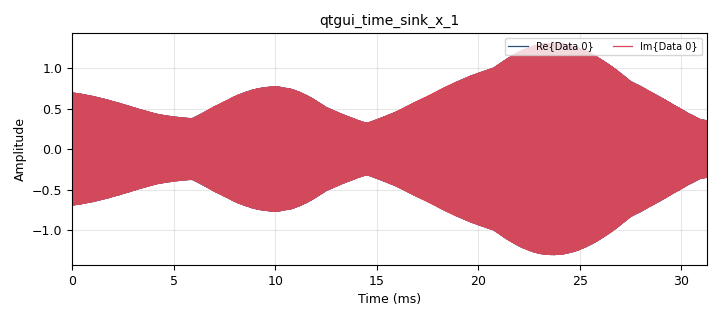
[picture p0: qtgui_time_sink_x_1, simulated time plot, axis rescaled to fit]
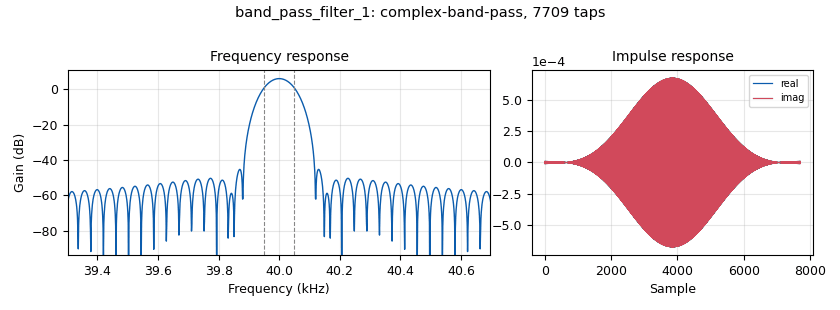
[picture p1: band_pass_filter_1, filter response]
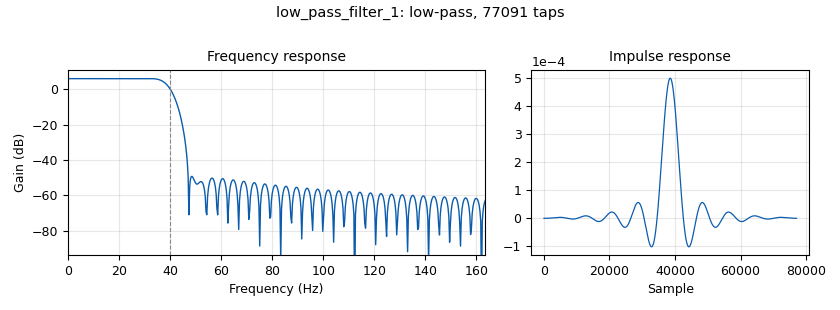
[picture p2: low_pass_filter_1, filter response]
options:
  parameters:
    author: parallels
    generate_options: qt_gui
    id: ook_tx
    max_nouts: '1000'
    output_language: python
    title: OOK  TX RX
  states: {}

blocks:
- name: center_freq
  id: variable
  parameters:
    value: 40e3
  states: {}
- name: delay
  id: variable_qtgui_range
  parameters:
    comment: |-
      when SRS is 1 the delay is 0 giving a total of 436
      *when SRS is 1 the delay is +432 giving total of 868*
      when SRS is 10 the delay is +3870 giving a total of 4306
      when SRS is 50 the delay is +21210 giving a total of 21646
      when SRS is 100 the delay is +42650 giving a total of 43086
    label: Delay
    start: '-500'
    step: '1'
    stop: '45000'
    value: '42650'
  states: {}
- name: noise_level
  id: variable_qtgui_range
  parameters:
    label: noise_level
    start: '0'
    step: '1'
    stop: '20'
    value: '20'
  states: {}
- name: samp_rate
  id: variable
  parameters:
    value: 2*160000
  states: {}
- name: srs
  id: variable
  parameters:
    comment: was 100 now changed to 1
    value: '100'
  states: {}
- name: analog_const_source_x_1_0_0
  id: analog_const_source_x
  parameters:
    const: '1'
    type: float
  states: {}
- name: analog_const_source_x_1_1
  id: analog_const_source_x
  parameters:
    const: noise_level
    type: float
  states: {}
- name: analog_noise_source_x_0_0
  id: analog_noise_source_x
  parameters:
    amp: noise_level
    noise_type: analog.GR_GAUSSIAN
    seed: '0'
    type: float
  states: {}
- name: analog_random_source_x_0
  id: analog_random_source_x
  parameters:
    max: '2'
    min: '0'
    num_samps: '10000'
    repeat: 'False'
    type: int
  states: {}
- name: analog_sig_source_x_1
  id: analog_sig_source_x
  parameters:
    amp: '1'
    freq: center_freq
    offset: '0'
    phase: '0'
    samp_rate: samp_rate
    type: float
    waveform: analog.GR_COS_WAVE
  states: {}
- name: band_pass_filter_1
  id: band_pass_filter
  parameters:
    decim: '1'
    gain: '2'
    high_cutoff_freq: 40000+5000/srs
    low_cutoff_freq: 40000-5000/srs
    samp_rate: samp_rate
    type: fir_filter_fcc
    width: 10000/srs
    win: window.WIN_HAMMING
  states: {}
- name: blocks_add_xx_0_0
  id: blocks_add_xx
  parameters:
    type: float
  states: {}
- name: blocks_complex_to_mag_squared_0
  id: blocks_complex_to_mag_squared
  parameters: {}
  states: {}
- name: blocks_delay_0
  id: blocks_delay
  parameters:
    delay: (443+63-70)+delay
    type: float
  states: {}
- name: blocks_divide_xx_0_0
  id: blocks_divide_xx
  parameters:
    type: float
  states: {}
- name: blocks_file_sink_0
  id: blocks_file_sink
  parameters:
    comment: |-
      The bit error rate calculated here must 
      be multiplied by the SRS factor to account 
      for the number of additional channels in 
      an OFDM structure.
    file: /home/michael/Desktop/Gnuradio_Models/ch5/BER-test-data.dat
    type: float
  states: {}
- name: blocks_float_to_int_0
  id: blocks_float_to_int
  parameters:
    scale: '1'
  states: {}
- name: blocks_float_to_int_0_0
  id: blocks_float_to_int
  parameters:
    scale: '1'
  states: {}
- name: blocks_int_to_float_0
  id: blocks_int_to_float
  parameters:
    scale: '1'
  states: {}
- name: blocks_int_to_float_1
  id: blocks_int_to_float
  parameters:
    scale: '1'
  states: {}
- name: blocks_keep_one_in_n_0_0
  id: blocks_keep_one_in_n
  parameters:
    n: 320*srs
    type: float
  states: {}
- name: blocks_keep_one_in_n_0_0_0
  id: blocks_keep_one_in_n
  parameters:
    n: 320*srs
    type: float
  states: {}
- name: blocks_multiply_xx_1
  id: blocks_multiply_xx
  parameters:
    type: float
  states: {}
- name: blocks_nlog10_ff_0_0
  id: blocks_nlog10_ff
  parameters:
    k: '0'
    n: '20'
  states: {}
- name: blocks_repeat_0
  id: blocks_repeat
  parameters:
    interp: 320*srs
    type: int
  states: {}
- name: blocks_threshold_ff_3
  id: blocks_threshold_ff
  parameters:
    high: '0.8'
    init: '0'
    low: '0.2'
  states: {}
- name: blocks_throttle_0
  id: blocks_throttle
  parameters:
    samples_per_second: samp_rate
    type: complex
  states: {}
- name: blocks_xor_xx_1
  id: blocks_xor_xx
  parameters:
    type: int
  states: {}
- name: low_pass_filter_1
  id: low_pass_filter
  parameters:
    cutoff_freq: 4000/srs
    gain: '2'
    interp: '1'
    samp_rate: samp_rate
    type: interp_fir_filter_fff
    width: 1000/srs
    win: window.WIN_HAMMING
  states: {}
- name: mp_channel_complex_0
  id: mp_channel_complex
  parameters:
    air_gain: '0'
    air_velocity: 340/srs
    comment: |-
      The velocities of the various 
      media are divided by the srs factor. 
      This compensates for the "OFDM" factor
      of reducing the symbol rate.
    path_length: '0'
    samp_rate: samp_rate
    steel_gain: '0'
    steel_velocity: 5000/srs
    wood_gain: '1'
    wood_velocity: 3000/srs
  states: {}
- name: qtgui_number_sink_0
  id: qtgui_number_sink
  parameters:
    graph_type: qtgui.NUM_GRAPH_NONE
    gui_hint: 0,0,1,1
    name: '"SNR in dB"'
    type: float
  states: {}
- name: qtgui_time_sink_x_1
  id: qtgui_time_sink_x
  parameters:
    size: '10000'
    srate: samp_rate
    type: complex
  states: {}
- name: qtgui_time_sink_x_1_0
  id: qtgui_time_sink_x
  parameters:
    label1: TX signals
    label2: RX signals
    name: '"Signals (TX and RX)"'
    nconnections: '2'
    size: '20000'
    srate: samp_rate
    type: float
    ymax: '1.1'
    ymin: '-0.1'
  states: {}
- name: qtgui_time_sink_x_1_0_0
  id: qtgui_time_sink_x
  parameters:
    label1: Input
    label2: Demod
    marker2: '0'
    name: '"Data Streams"'
    nconnections: '2'
    size: '100'
    srate: samp_rate/320
    style2: '0'
    type: float
    ymax: '1.1'
    ymin: '-0.1'
  states: {}
- name: qtgui_time_sink_x_2
  id: qtgui_time_sink_x
  parameters:
    label1: Errors
    marker1: '0'
    name: '"Errors"'
    size: '100'
    srate: samp_rate/320
    style1: '0'
    type: float
    ymax: '1.1'
    ymin: '-0.1'
  states: {}
- name: virtual_sink_0
  id: virtual_sink
  parameters:
    stream_id: TX stream
  states: {}
- name: virtual_sink_1
  id: virtual_sink
  parameters:
    stream_id: TX signal
  states: {}
- name: virtual_sink_1_0
  id: virtual_sink
  parameters:
    stream_id: MP Signal
  states: {}
- name: virtual_sink_2
  id: virtual_sink
  parameters:
    stream_id: RX Symbols
  states: {}
- name: virtual_sink_3
  id: virtual_sink
  parameters:
    stream_id: TX Symbols
  states: {}
- name: virtual_sink_3_0
  id: virtual_sink
  parameters:
    stream_id: TX Signals
  states: {}
- name: virtual_sink_4
  id: virtual_sink
  parameters:
    stream_id: RX Signals
  states: {}
- name: virtual_sink_5
  id: virtual_sink
  parameters:
    stream_id: TX d-Syms
  states: {}
- name: virtual_source_0
  id: virtual_source
  parameters:
    stream_id: TX d-Syms
  states: {}
- name: virtual_source_1
  id: virtual_source
  parameters:
    stream_id: TX stream
  states: {}
- name: virtual_source_2
  id: virtual_source
  parameters:
    stream_id: MP Signal
  states: {}
- name: virtual_source_2_0
  id: virtual_source
  parameters:
    stream_id: TX signal
  states: {}
- name: virtual_source_2_0_0
  id: virtual_source
  parameters:
    stream_id: TX signal
  states: {}
- name: virtual_source_3
  id: virtual_source
  parameters:
    stream_id: TX Symbols
  states: {}
- name: virtual_source_3_0
  id: virtual_source
  parameters:
    stream_id: TX Symbols
  states: {}
- name: virtual_source_4
  id: virtual_source
  parameters:
    stream_id: RX Symbols
  states: {}
- name: virtual_source_4_0
  id: virtual_source
  parameters:
    stream_id: RX Symbols
  states: {}
- name: virtual_source_5
  id: virtual_source
  parameters:
    stream_id: TX Signals
  states: {}
- name: virtual_source_6
  id: virtual_source
  parameters:
    stream_id: RX Signals
  states: {}

connections:
- [analog_const_source_x_1_0_0, '0', blocks_divide_xx_0_0, '0']
- [analog_const_source_x_1_1, '0', blocks_divide_xx_0_0, '1']
- [analog_noise_source_x_0_0, '0', blocks_add_xx_0_0, '1']
- [analog_random_source_x_0, '0', blocks_repeat_0, '0']
- [analog_sig_source_x_1, '0', blocks_multiply_xx_1, '1']
- [band_pass_filter_1, '0', virtual_sink_1, '0']
- [blocks_add_xx_0_0, '0', band_pass_filter_1, '0']
- [blocks_complex_to_mag_squared_0, '0', low_pass_filter_1, '0']
- [blocks_delay_0, '0', blocks_keep_one_in_n_0_0, '0']
- [blocks_delay_0, '0', virtual_sink_3_0, '0']
- [blocks_divide_xx_0_0, '0', blocks_nlog10_ff_0_0, '0']
- [blocks_float_to_int_0, '0', blocks_xor_xx_1, '0']
- [blocks_float_to_int_0_0, '0', blocks_xor_xx_1, '1']
- [blocks_int_to_float_0, '0', blocks_multiply_xx_1, '0']
- [blocks_int_to_float_0, '0', virtual_sink_0, '0']
- [blocks_int_to_float_1, '0', blocks_file_sink_0, '0']
- [blocks_int_to_float_1, '0', qtgui_time_sink_x_2, '0']
- [blocks_keep_one_in_n_0_0, '0', virtual_sink_3, '0']
- [blocks_keep_one_in_n_0_0_0, '0', virtual_sink_2, '0']
- [blocks_multiply_xx_1, '0', blocks_add_xx_0_0, '0']
- [blocks_nlog10_ff_0_0, '0', qtgui_number_sink_0, '0']
- [blocks_repeat_0, '0', virtual_sink_5, '0']
- [blocks_threshold_ff_3, '0', blocks_keep_one_in_n_0_0_0, '0']
- [blocks_threshold_ff_3, '0', virtual_sink_4, '0']
- [blocks_throttle_0, '0', qtgui_time_sink_x_1, '0']
- [blocks_xor_xx_1, '0', blocks_int_to_float_1, '0']
- [low_pass_filter_1, '0', blocks_threshold_ff_3, '0']
- [mp_channel_complex_0, '0', virtual_sink_1_0, '0']
- [virtual_source_0, '0', blocks_int_to_float_0, '0']
- [virtual_source_1, '0', blocks_delay_0, '0']
- [virtual_source_2, '0', blocks_complex_to_mag_squared_0, '0']
- [virtual_source_2_0, '0', blocks_throttle_0, '0']
- [virtual_source_2_0_0, '0', mp_channel_complex_0, '0']
- [virtual_source_3, '0', qtgui_time_sink_x_1_0_0, '0']
- [virtual_source_3_0, '0', blocks_float_to_int_0, '0']
- [virtual_source_4, '0', qtgui_time_sink_x_1_0_0, '1']
- [virtual_source_4_0, '0', blocks_float_to_int_0_0, '0']
- [virtual_source_5, '0', qtgui_time_sink_x_1_0, '0']
- [virtual_source_6, '0', qtgui_time_sink_x_1_0, '1']

metadata:
  file_format: 1
  grc_version: 3.10.9.2
